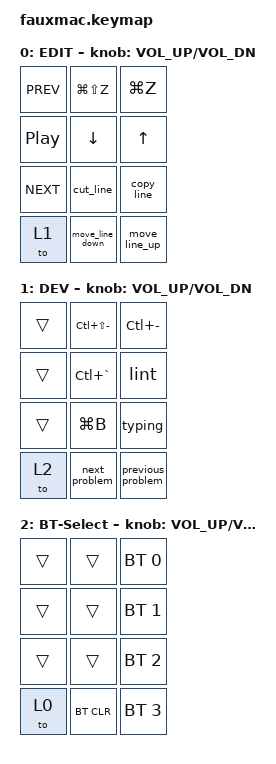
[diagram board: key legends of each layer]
#include <behaviors.dtsi>
#include <dt-bindings/zmk/keys.h>
#include <dt-bindings/zmk/bt.h>

/ {
    macros {
        select_line: select_line {
            compatible = "zmk,behavior-macro";
            #binding-cells = <0>;
            bindings
                = <&macro_tap &kp LG(LEFT)>
                , <&macro_tap &kp LS(LG(RIGHT))>
                ;
        };

        copy_line: copy_line {
            compatible = "zmk,behavior-macro";
            #binding-cells = <0>;
            bindings
                = <&macro_tap &select_line>
                , <&macro_tap &kp LG(C)>
                ;
        };

        cut_line: cut_line {
            compatible = "zmk,behavior-macro";
            #binding-cells = <0>;
            bindings
                = <&macro_tap &select_line>
                , <&macro_tap &kp LG(X)>
                ;
        };
        move_line_up: move_line_up {
            compatible = "zmk,behavior-macro";
            #binding-cells = <0>;
            bindings = <&macro_tap &kp LC(UP)>;
        };

        move_line_down: move_line_down {
            compatible = "zmk,behavior-macro";
            #binding-cells = <0>;
            bindings = <&macro_tap &kp LC(DOWN)>;
        };

        lint: lint {
            compatible = "zmk,behavior-macro";
            #binding-cells = <0>;
            bindings = <&macro_tap &kp LC(LA(L))>;
        };

        typing: typing {
            compatible = "zmk,behavior-macro";
            #binding-cells = <0>;
            bindings = <&macro_tap &kp LC(LA(T))>;
        };

        pytest: pytest {
            compatible = "zmk,behavior-macro";
            #binding-cells = <0>;
            bindings = <&macro_tap &kp LC(LA(P))>;
        };

        next_problem: next_problem {
            compatible = "zmk,behavior-macro";
            #binding-cells = <0>;
            bindings = <&macro_tap &kp F8>;
        };

        previous_problem: previous_problem {
            compatible = "zmk,behavior-macro";
            #binding-cells = <0>;
            bindings = <&macro_tap &kp LS(F8)>;
        };
    };

    keymap {
        compatible = "zmk,keymap";


        edit_layer {
            display-name = "EDIT";
            bindings = <
                &kp C_PREV          &kp LG(LS(Z))       &kp LG(Z)
                &kp C_PP            &kp DOWN            &kp UP
                &kp C_NEXT          &cut_line           &copy_line
                &to 1               &move_line_down     &move_line_up
            >;
            sensor-bindings = <&inc_dec_kp C_VOL_UP C_VOL_DN>;
        };

        dev_layer {
            display-name = "DEV";
            bindings = <
                &trans      &kp LC(LS(MINUS))   &kp LC(MINUS)
                &trans      &kp LC(GRAVE)       &lint
                &trans      &kp LG(B)           &typing
                &to 2       &next_problem       &previous_problem
            >;
            sensor-bindings = <&inc_dec_kp C_VOL_UP C_VOL_DN>;
        };

        BT_layer {
            display-name = "BT-Select";
            bindings = <
                &trans     &trans       &bt BT_SEL 0
                &trans     &trans       &bt BT_SEL 1   
                &trans     &trans       &bt BT_SEL 2
                &to 0      &bt BT_CLR   &bt BT_SEL 3       
            >;
            sensor-bindings = <&inc_dec_kp C_VOL_UP C_VOL_DN>;
        };

    };
};
